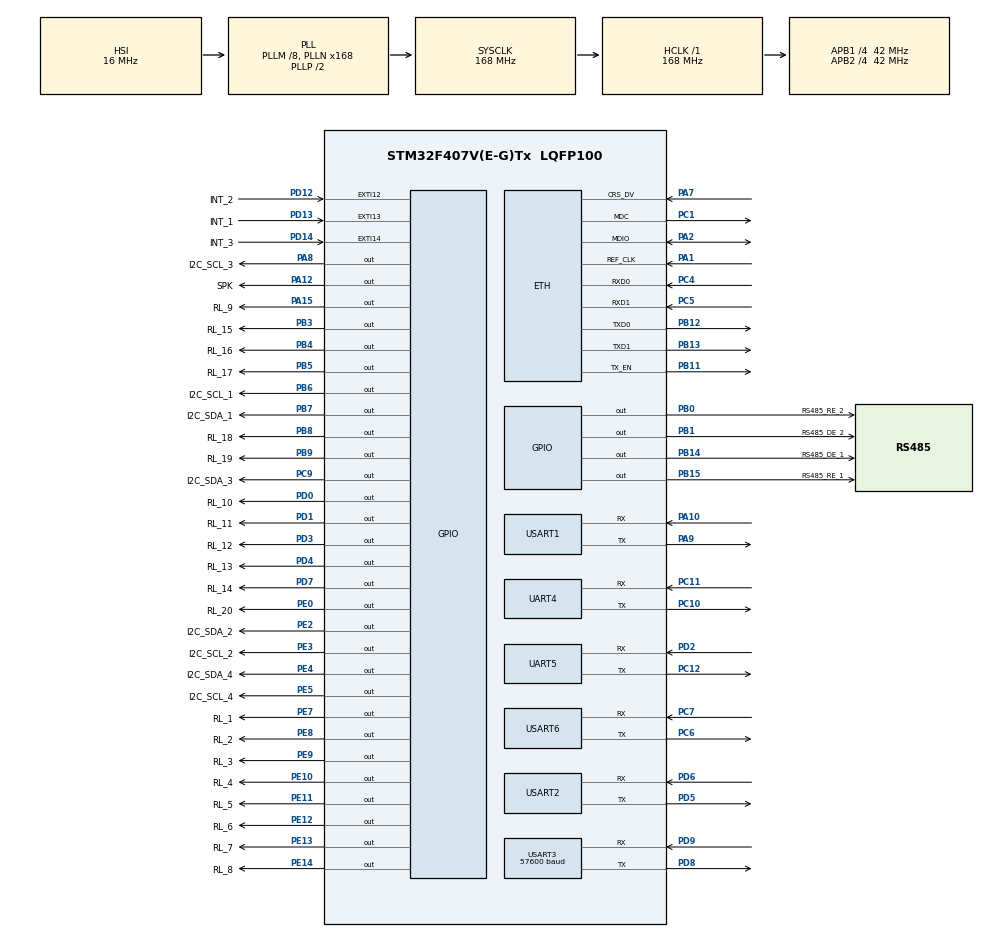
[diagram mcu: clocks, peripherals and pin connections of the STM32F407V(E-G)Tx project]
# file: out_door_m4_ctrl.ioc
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Dma.Request0=UART4_RX
Dma.Request1=USART1_RX
Dma.Request2=USART2_RX
Dma.Request3=UART5_RX
Dma.Request4=USART6_RX
Dma.Request5=USART3_RX
Dma.UART4_RX.0.Direction=DMA_PERIPH_TO_MEMORY
Dma.UART4_RX.0.FIFOMode=DMA_FIFOMODE_DISABLE
Dma.UART4_RX.0.Instance=DMA1_Stream2
Dma.UART4_RX.0.MemDataAlignment=DMA_MDATAALIGN_BYTE
Dma.UART4_RX.0.MemInc=DMA_MINC_ENABLE
Dma.UART4_RX.0.Mode=DMA_NORMAL
Dma.UART4_RX.0.PeriphDataAlignment=DMA_PDATAALIGN_BYTE
Dma.UART4_RX.0.PeriphInc=DMA_PINC_DISABLE
Dma.UART4_RX.0.Priority=DMA_PRIORITY_LOW
Dma.UART5_RX.3.Direction=DMA_PERIPH_TO_MEMORY
Dma.UART5_RX.3.FIFOMode=DMA_FIFOMODE_DISABLE
Dma.UART5_RX.3.Instance=DMA1_Stream0
Dma.UART5_RX.3.MemDataAlignment=DMA_MDATAALIGN_BYTE
Dma.UART5_RX.3.MemInc=DMA_MINC_ENABLE
Dma.UART5_RX.3.Mode=DMA_NORMAL
Dma.UART5_RX.3.PeriphDataAlignment=DMA_PDATAALIGN_BYTE
Dma.UART5_RX.3.PeriphInc=DMA_PINC_DISABLE
Dma.UART5_RX.3.Priority=DMA_PRIORITY_LOW
Dma.USART1_RX.1.Direction=DMA_PERIPH_TO_MEMORY
Dma.USART1_RX.1.FIFOMode=DMA_FIFOMODE_DISABLE
Dma.USART1_RX.1.Instance=DMA2_Stream2
Dma.USART1_RX.1.MemDataAlignment=DMA_MDATAALIGN_BYTE
Dma.USART1_RX.1.MemInc=DMA_MINC_ENABLE
Dma.USART1_RX.1.Mode=DMA_NORMAL
Dma.USART1_RX.1.PeriphDataAlignment=DMA_PDATAALIGN_BYTE
Dma.USART1_RX.1.PeriphInc=DMA_PINC_DISABLE
Dma.USART1_RX.1.Priority=DMA_PRIORITY_LOW
Dma.USART2_RX.2.Direction=DMA_PERIPH_TO_MEMORY
Dma.USART2_RX.2.FIFOMode=DMA_FIFOMODE_DISABLE
Dma.USART2_RX.2.Instance=DMA1_Stream5
Dma.USART2_RX.2.MemDataAlignment=DMA_MDATAALIGN_BYTE
Dma.USART2_RX.2.MemInc=DMA_MINC_ENABLE
Dma.USART2_RX.2.Mode=DMA_NORMAL
Dma.USART2_RX.2.PeriphDataAlignment=DMA_PDATAALIGN_BYTE
Dma.USART2_RX.2.PeriphInc=DMA_PINC_DISABLE
Dma.USART2_RX.2.Priority=DMA_PRIORITY_LOW
Dma.USART3_RX.5.Direction=DMA_PERIPH_TO_MEMORY
Dma.USART3_RX.5.FIFOMode=DMA_FIFOMODE_DISABLE
Dma.USART3_RX.5.Instance=DMA1_Stream1
Dma.USART3_RX.5.MemDataAlignment=DMA_MDATAALIGN_BYTE
Dma.USART3_RX.5.MemInc=DMA_MINC_ENABLE
Dma.USART3_RX.5.Mode=DMA_NORMAL
Dma.USART3_RX.5.PeriphDataAlignment=DMA_PDATAALIGN_BYTE
Dma.USART3_RX.5.PeriphInc=DMA_PINC_DISABLE
Dma.USART3_RX.5.Priority=DMA_PRIORITY_LOW
Dma.USART6_RX.4.Direction=DMA_PERIPH_TO_MEMORY
Dma.USART6_RX.4.FIFOMode=DMA_FIFOMODE_DISABLE
Dma.USART6_RX.4.Instance=DMA2_Stream1
Dma.USART6_RX.4.MemDataAlignment=DMA_MDATAALIGN_BYTE
Dma.USART6_RX.4.MemInc=DMA_MINC_ENABLE
Dma.USART6_RX.4.Mode=DMA_NORMAL
Dma.USART6_RX.4.PeriphDataAlignment=DMA_PDATAALIGN_BYTE
Dma.USART6_RX.4.PeriphInc=DMA_PINC_DISABLE
Dma.USART6_RX.4.Priority=DMA_PRIORITY_LOW
ETH.MACAddr=56\:78\:9A\:87\:65\:43
ETH.MediaInterface=ETH_MEDIA_INTERFACE_RMII
ETH.PhyAddress=0
FREERTOS.INCLUDE_uxTaskGetStackHighWaterMark=1
FREERTOS.INCLUDE_xTaskGetCurrentTaskHandle=1
FREERTOS.Queues01=KeyQueue,4,uint8_t,NULL;SerialQueue,12,uint8_t,NULL;SaveDataQueue,6,uint32_t,NULL;RelayQueue,20,uint32_t,NULL
FREERTOS.Tasks01=Sys,0,128,SysTask,Default;ReadKey,0,128,ReadKeyTask,Default;DealKey,2,128,DealKeyTask,Default;DealSerial,2,500,DealSerialTask,Default;DealSaveData,1,400,DealSaveDataTask,Default;DelayStartUp,0,400,DelayStartUpTask,Default;DealRelay,3,400,DealRelayTask,Default
FREERTOS.configTOTAL_HEAP_SIZE=30720
FREERTOS.configUSE_IDLE_HOOK=1
FREERTOS.configUSE_TICK_HOOK=1
LWIP.GATEWAY_ADDRESS=192.168.001.001
LWIP.IP_ADDRESS=192.168.001.234
LWIP.LWIP_DHCP=0
LWIP.MEMP_DEBUG=LWIP_DBG_ON
LWIP.MEMP_NUM_NETCONN=16
LWIP.MEMP_NUM_TCP_PCB=10
LWIP.MEMP_NUM_UDP_PCB=5
LWIP.MEMP_SANITY_CHECK=1
LWIP.MEM_DEBUG=LWIP_DBG_ON
LWIP.MEM_SIZE=8000
LWIP.NETMASK_ADDRESS=255.255.255.000
LWIP.PBUF_POOL_BUFSIZE=2000
LWIP.SYS_LIGHTWEIGHT_PROT=1
LWIP.TCPIP_DEBUG=LWIP_DBG_ON
LWIP.TCP_MSS=1460
LWIP.TCP_QUEUE_OOSEQ=0
LWIP.Version=v1.5.0_RC0_20160211
Mcu.Family=STM32F4
Mcu.Name=STM32F407V(E-G)Tx
Mcu.Package=LQFP100
NVIC.DMA1_Stream0_IRQn=true\:5\:0\:false\:false\:true\:true
NVIC.DMA1_Stream1_IRQn=true\:5\:0\:false\:false\:true\:true
NVIC.DMA1_Stream2_IRQn=true\:5\:0\:false\:false\:true\:true
NVIC.DMA1_Stream5_IRQn=true\:5\:0\:false\:false\:true\:true
NVIC.DMA2_Stream1_IRQn=true\:5\:0\:false\:false\:true\:true
NVIC.DMA2_Stream2_IRQn=true\:5\:0\:false\:false\:true\:true
NVIC.ETH_IRQn=true\:5\:0\:false\:false\:true\:true
NVIC.EXTI15_10_IRQn=true\:5\:0\:false\:false\:true\:true
NVIC.PriorityGroup=NVIC_PRIORITYGROUP_4
NVIC.TIM1_BRK_TIM9_IRQn=true\:5\:0\:false\:false\:true\:true
NVIC.TIM1_UP_TIM10_IRQn=true\:5\:0\:false\:false\:true\:true
NVIC.TIM2_IRQn=true\:5\:0\:false\:false\:true\:true
NVIC.TIM3_IRQn=true\:5\:0\:false\:false\:true\:true
NVIC.TIM4_IRQn=true\:5\:0\:false\:false\:true\:true
NVIC.TIM5_IRQn=true\:5\:0\:false\:false\:true\:true
NVIC.TIM6_DAC_IRQn=true\:5\:0\:false\:false\:true\:true
NVIC.TIM7_IRQn=true\:5\:0\:false\:false\:true\:true
NVIC.TIM8_TRG_COM_TIM14_IRQn=true\:0\:0\:false\:false\:true\:false
NVIC.TIM8_UP_TIM13_IRQn=true\:5\:0\:false\:false\:true\:true
NVIC.TimeBase=TIM8_TRG_COM_TIM14_IRQn
NVIC.TimeBaseIP=TIM14
NVIC.UART4_IRQn=true\:5\:0\:false\:false\:true\:true
NVIC.UART5_IRQn=true\:5\:0\:false\:false\:true\:true
NVIC.USART1_IRQn=true\:5\:0\:false\:false\:true\:true
NVIC.USART2_IRQn=true\:5\:0\:false\:false\:true\:true
NVIC.USART3_IRQn=true\:5\:0\:false\:false\:true\:true
NVIC.USART6_IRQn=true\:5\:0\:false\:false\:true\:true
PA1.Mode=RMII
PA1.Signal=ETH_REF_CLK
PA10.Mode=Asynchronous
PA10.Signal=USART1_RX
PA12.GPIO_Label=SPK
PA12.Signal=GPIO_Output
PA13.Mode=Serial_Wire
PA13.Signal=SYS_JTMS-SWDIO
PA14.Mode=Serial_Wire
PA14.Signal=SYS_JTCK-SWCLK
PA15.GPIO_Label=RL_9
PA15.Signal=GPIO_Output
PA2.Mode=RMII
PA2.Signal=ETH_MDIO
PA7.Mode=RMII
PA7.Signal=ETH_CRS_DV
PA8.GPIO_Label=I2C_SCL_3
PA8.PinState=GPIO_PIN_SET
PA8.Signal=GPIO_Output
PA9.Mode=Asynchronous
PA9.Signal=USART1_TX
PB0.GPIO_Label=RS485_RE_2
PB0.Signal=GPIO_Output
PB1.GPIO_Label=RS485_DE_2
PB1.Signal=GPIO_Output
PB11.Mode=RMII
PB11.Signal=ETH_TX_EN
PB12.Mode=RMII
PB12.Signal=ETH_TXD0
PB13.Mode=RMII
PB13.Signal=ETH_TXD1
PB14.GPIO_Label=RS485_DE_1
PB14.Signal=GPIO_Output
PB15.GPIO_Label=RS485_RE_1
PB15.Signal=GPIO_Output
PB3.GPIO_Label=RL_15
PB3.Signal=GPIO_Output
PB4.GPIO_Label=RL_16
PB4.Signal=GPIO_Output
PB5.GPIO_Label=RL_17
PB5.Signal=GPIO_Output
PB6.GPIO_Label=I2C_SCL_1
PB6.PinState=GPIO_PIN_SET
PB6.Signal=GPIO_Output
PB7.GPIO_Label=I2C_SDA_1
PB7.GPIO_ModeDefaultOutputPP=GPIO_MODE_OUTPUT_OD
PB7.PinState=GPIO_PIN_SET
PB7.Signal=GPIO_Output
PB8.GPIO_Label=RL_18
PB8.Signal=GPIO_Output
PB9.GPIO_Label=RL_19
PB9.Signal=GPIO_Output
PC1.Mode=RMII
PC1.Signal=ETH_MDC
PC10.Mode=Asynchronous
PC10.Signal=UART4_TX
PC11.Mode=Asynchronous
PC11.Signal=UART4_RX
PC12.Mode=Asynchronous
PC12.Signal=UART5_TX
PC14-OSC32_IN.Mode=LSE-External-Oscillator
PC14-OSC32_IN.Signal=RCC_OSC32_IN
PC15-OSC32_OUT.Mode=LSE-External-Oscillator
PC15-OSC32_OUT.Signal=RCC_OSC32_OUT
PC4.Mode=RMII
PC4.Signal=ETH_RXD0
PC5.Mode=RMII
PC5.Signal=ETH_RXD1
PC6.Mode=Asynchronous
PC6.Signal=USART6_TX
PC7.Mode=Asynchronous
PC7.Signal=USART6_RX
PC9.GPIO_Label=I2C_SDA_3
PC9.GPIO_ModeDefaultOutputPP=GPIO_MODE_OUTPUT_OD
PC9.PinState=GPIO_PIN_SET
PC9.Signal=GPIO_Output
PD0.GPIO_Label=RL_10
PD0.Signal=GPIO_Output
PD1.GPIO_Label=RL_11
PD1.Signal=GPIO_Output
PD12.GPIO_Label=INT_2
PD12.Signal=GPXTI12
PD13.GPIO_Label=INT_1
PD13.Signal=GPXTI13
PD14.GPIO_Label=INT_3
PD14.Signal=GPXTI14
PD2.Mode=Asynchronous
PD2.Signal=UART5_RX
PD3.GPIO_Label=RL_12
PD3.Signal=GPIO_Output
PD4.GPIO_Label=RL_13
PD4.Signal=GPIO_Output
PD5.Mode=Asynchronous
PD5.Signal=USART2_TX
PD6.Mode=Asynchronous
PD6.Signal=USART2_RX
PD7.GPIO_Label=RL_14
PD7.Signal=GPIO_Output
PD8.Mode=Asynchronous
PD8.Signal=USART3_TX
PD9.Mode=Asynchronous
PD9.Signal=USART3_RX
PE0.GPIO_Label=RL_20
PE0.Signal=GPIO_Output
PE10.GPIO_Label=RL_4
PE10.Signal=GPIO_Output
PE11.GPIO_Label=RL_5
PE11.Signal=GPIO_Output
PE12.GPIO_Label=RL_6
PE12.Signal=GPIO_Output
PE13.GPIO_Label=RL_7
PE13.Signal=GPIO_Output
PE14.GPIO_Label=RL_8
PE14.Signal=GPIO_Output
PE2.GPIO_Label=I2C_SDA_2
PE2.GPIO_ModeDefaultOutputPP=GPIO_MODE_OUTPUT_OD
PE2.PinState=GPIO_PIN_SET
PE2.Signal=GPIO_Output
PE3.GPIO_Label=I2C_SCL_2
PE3.PinState=GPIO_PIN_SET
PE3.Signal=GPIO_Output
PE4.GPIO_Label=I2C_SDA_4
PE4.GPIO_ModeDefaultOutputPP=GPIO_MODE_OUTPUT_OD
PE4.PinState=GPIO_PIN_SET
PE4.Signal=GPIO_Output
PE5.GPIO_Label=I2C_SCL_4
PE5.PinState=GPIO_PIN_SET
PE5.Signal=GPIO_Output
PE7.GPIO_Label=RL_1
PE7.Signal=GPIO_Output
PE8.GPIO_Label=RL_2
PE8.Signal=GPIO_Output
PE9.GPIO_Label=RL_3
PE9.Signal=GPIO_Output
PH0-OSC_IN.Mode=HSE-External-Oscillator
PH0-OSC_IN.Signal=RCC_OSC_IN
PH1-OSC_OUT.Mode=HSE-External-Oscillator
PH1-OSC_OUT.Signal=RCC_OSC_OUT
ProjectManager.HeapSize=0xA00
ProjectManager.StackSize=0xA00
ProjectManager.TargetToolchain=MDK-ARM V5
RCC.48MHZClocksFreq_Value=84000000
RCC.AHBFreq_Value=168000000
RCC.APB1CLKDivider=RCC_HCLK_DIV4
RCC.APB1Freq_Value=42000000
RCC.APB1TimFreq_Value=84000000
RCC.APB2CLKDivider=RCC_HCLK_DIV4
RCC.APB2Freq_Value=42000000
RCC.APB2TimFreq_Value=84000000
RCC.CortexFreq_Value=168000000
RCC.HCLKFreq_Value=168000000
RCC.HSE_VALUE=25000000
RCC.HSI_VALUE=16000000
RCC.PLLM=8
RCC.PLLN=168
RCC.RCC_RTC_Clock_Source=RCC_RTCCLKSOURCE_LSE
RCC.RCC_RTC_Clock_SourceVirtual=RCC_RTCCLKSOURCE_LSE
RCC.SYSCLKFreq_VALUE=168000000
RCC.SYSCLKSource=RCC_SYSCLKSOURCE_PLLCLK
RCC.VCOOutputFreq_Value=336000000
RTC.Format=RTC_FORMAT_BIN
TIM1.Period=2999
TIM1.Prescaler=83
TIM2.Period=2999
TIM2.Prescaler=83
TIM3.Period=2999
TIM3.Prescaler=83
TIM4.Period=2999
TIM4.Prescaler=83
TIM5.Period=2999
TIM5.Prescaler=83
TIM6.Period=2999
TIM6.Prescaler=83
TIM7.Period=999
TIM7.Prescaler=83
TIM8.CounterMode=TIM_COUNTERMODE_DOWN
TIM8.Period=999
TIM8.Prescaler=83
TIM9.Period=999
TIM9.Prescaler=83
USART3.BaudRate=57600
VP_FREERTOS_VS_ENABLE.Mode=Enabled
VP_LWIP_VS_Enabled.Mode=Enabled
VP_RTC_VS_RTC_WakeUp_intern.Mode=WakeUp
VP_SYS_VS_tim14.Mode=TIM14
VP_TIM1_VS_ClockSourceINT.Mode=Internal
VP_TIM2_VS_ClockSourceINT.Mode=Internal
VP_TIM3_VS_ClockSourceINT.Mode=Internal
VP_TIM4_VS_ClockSourceINT.Mode=Internal
VP_TIM5_VS_ClockSourceINT.Mode=Internal
VP_TIM6_VS_ClockSourceINT.Mode=Enable_Timer
VP_TIM7_VS_ClockSourceINT.Mode=Enable_Timer
VP_TIM8_VS_ClockSourceINT.Mode=Internal
VP_TIM9_VS_ClockSourceINT.Mode=Internal
board=out_door_m4_ctrl

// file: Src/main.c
/**
  ******************************************************************************
  * File Name          : main.c
  * Description        : Main program body
  ******************************************************************************
  *
  * COPYRIGHT(c) 2017 STMicroelectronics
  *
  * Redistribution and use in source and binary forms, with or without modification,
  * are permitted provided that the following conditions are met:
  *   1. Redistributions of source code must retain the above copyright notice,
  *      this list of conditions and the following disclaimer.
  *   2. Redistributions in binary form must reproduce the above copyright notice,
  *      this list of conditions and the following disclaimer in the documentation
  *      and/or other materials provided with the distribution.
  *   3. Neither the name of STMicroelectronics nor the names of its contributors
  *      may be used to endorse or promote products derived from this software
  *      without specific prior written permission.
  *
  * THIS SOFTWARE IS PROVIDED BY THE COPYRIGHT HOLDERS AND CONTRIBUTORS "AS IS"
  * AND ANY EXPRESS OR IMPLIED WARRANTIES, INCLUDING, BUT NOT LIMITED TO, THE
  * IMPLIED WARRANTIES OF MERCHANTABILITY AND FITNESS FOR A PARTICULAR PURPOSE ARE
  * DISCLAIMED. IN NO EVENT SHALL THE COPYRIGHT HOLDER OR CONTRIBUTORS BE LIABLE
  * FOR ANY DIRECT, INDIRECT, INCIDENTAL, SPECIAL, EXEMPLARY, OR CONSEQUENTIAL
  * DAMAGES (INCLUDING, BUT NOT LIMITED TO, PROCUREMENT OF SUBSTITUTE GOODS OR
  * SERVICES; LOSS OF USE, DATA, OR PROFITS; OR BUSINESS INTERRUPTION) HOWEVER
  * CAUSED AND ON ANY THEORY OF LIABILITY, WHETHER IN CONTRACT, STRICT LIABILITY,
  * OR TORT (INCLUDING NEGLIGENCE OR OTHERWISE) ARISING IN ANY WAY OUT OF THE USE
  * OF THIS SOFTWARE, EVEN IF ADVISED OF THE POSSIBILITY OF SUCH DAMAGE.
  *
  ******************************************************************************
  */
#include "stm32f4xx_hal.h"
#include "cmsis_os.h"
#include "dma.h"
#include "lwip.h"
#include "rtc.h"
#include "tim.h"
#include "usart.h"
#include "gpio.h"

/* USER CODE BEGIN Includes */
#include "include.h"
/* USER CODE END Includes */

/* USER CODE BEGIN PV */
/* Private variables ---------------------------------------------------------*/

/* USER CODE END PV */

void SystemClock_Config(void);
void Error_Handler(void);
void MX_FREERTOS_Init(void);

/* USER CODE BEGIN PFP */
/* Private function prototypes -----------------------------------------------*/

/* USER CODE END PFP */

int main(void)
{

  /* MCU Configuration----------------------------------------------------------*/

  /* Reset of all peripherals, Initializes the Flash interface and the Systick. */
  HAL_Init();

  /* Configure the system clock */
  SystemClock_Config();

  /* Initialize all configured peripherals */
  MX_GPIO_Init();
  MX_DMA_Init();
  MX_UART4_Init();
  MX_UART5_Init();
  MX_USART1_UART_Init();
  MX_USART2_UART_Init();
  MX_USART3_UART_Init();
  MX_USART6_UART_Init();
  MX_TIM1_Init();
  MX_TIM2_Init();
  MX_TIM3_Init();
  MX_TIM4_Init();
  MX_TIM5_Init();
  MX_TIM6_Init();
  MX_TIM7_Init();
  MX_TIM8_Init();
  MX_TIM9_Init();
  MX_RTC_Init();

  /* Call init function for freertos objects (in freertos.c) */
  MX_FREERTOS_Init();

  /* Start scheduler */
  osKernelStart();

  /* We should never get here as control is now taken by the scheduler */

  /* Infinite loop */
  while (1)
  {

  }

}

/** System Clock Configuration
*/
void SystemClock_Config(void)
{

  RCC_OscInitTypeDef RCC_OscInitStruct;
  RCC_ClkInitTypeDef RCC_ClkInitStruct;
  RCC_PeriphCLKInitTypeDef PeriphClkInitStruct;

  __HAL_RCC_PWR_CLK_ENABLE();

  __HAL_PWR_VOLTAGESCALING_CONFIG(PWR_REGULATOR_VOLTAGE_SCALE1);

  RCC_OscInitStruct.OscillatorType = RCC_OSCILLATORTYPE_HSI|RCC_OSCILLATORTYPE_LSE;
  RCC_OscInitStruct.LSEState = RCC_LSE_ON;
  RCC_OscInitStruct.HSIState = RCC_HSI_ON;
  RCC_OscInitStruct.HSICalibrationValue = 16;
  RCC_OscInitStruct.PLL.PLLState = RCC_PLL_ON;
  RCC_OscInitStruct.PLL.PLLSource = RCC_PLLSOURCE_HSI;
  RCC_OscInitStruct.PLL.PLLM = 8;
  RCC_OscInitStruct.PLL.PLLN = 168;
  RCC_OscInitStruct.PLL.PLLP = RCC_PLLP_DIV2;
  RCC_OscInitStruct.PLL.PLLQ = 4;
  if (HAL_RCC_OscConfig(&RCC_OscInitStruct) != HAL_OK)
  {
    Error_Handler();
  }

  RCC_ClkInitStruct.ClockType = RCC_CLOCKTYPE_HCLK|RCC_CLOCKTYPE_SYSCLK
                              |RCC_CLOCKTYPE_PCLK1|RCC_CLOCKTYPE_PCLK2;
  RCC_ClkInitStruct.SYSCLKSource = RCC_SYSCLKSOURCE_PLLCLK;
  RCC_ClkInitStruct.AHBCLKDivider = RCC_SYSCLK_DIV1;
  RCC_ClkInitStruct.APB1CLKDivider = RCC_HCLK_DIV4;
  RCC_ClkInitStruct.APB2CLKDivider = RCC_HCLK_DIV4;
  if (HAL_RCC_ClockConfig(&RCC_ClkInitStruct, FLASH_LATENCY_5) != HAL_OK)
  {
    Error_Handler();
  }

  PeriphClkInitStruct.PeriphClockSelection = RCC_PERIPHCLK_RTC;
  PeriphClkInitStruct.RTCClockSelection = RCC_RTCCLKSOURCE_LSE;
  if (HAL_RCCEx_PeriphCLKConfig(&PeriphClkInitStruct) != HAL_OK)
  {
    Error_Handler();
  }

  HAL_SYSTICK_Config(HAL_RCC_GetHCLKFreq()/1000);

  HAL_SYSTICK_CLKSourceConfig(SYSTICK_CLKSOURCE_HCLK);

  /* SysTick_IRQn interrupt configuration */
  HAL_NVIC_SetPriority(SysTick_IRQn, 15, 0);
}

void HAL_TIM_PeriodElapsedCallback(TIM_HandleTypeDef *htim)
{
/* USER CODE BEGIN Callback 0 */

UartTimerOpeart(htim,&Tcm300Info);
UartTimerOpeart(htim,&Rs232_1_Info);
UartTimerOpeart(htim,&Rs232_2_Info);
UartTimerOpeart(htim,&Rs485_1_Info);
UartTimerOpeart(htim,&Rs485_2_Info);
UartTimerOpeart(htim,&KeyBoardInfo);

if (htim->Instance == COUNTER_TIMER.Instance) {
	INC_COUNTER_TIMER();
}

/* USER CODE END Callback 0 */
  if (htim->Instance == TIM14) {
    HAL_IncTick();
  }
}

void Error_Handler(void)
{
  while(1)
  {
  }
}

/************************ (C) COPYRIGHT STMicroelectronics *****END OF FILE****/

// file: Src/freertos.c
/**
  ******************************************************************************
  * File Name          : freertos.c
  * Description        : Code for freertos applications
  ******************************************************************************
  *
  * COPYRIGHT(c) 2017 STMicroelectronics
  *
  * Redistribution and use in source and binary forms, with or without modification,
  * are permitted provided that the following conditions are met:
  *   1. Redistributions of source code must retain the above copyright notice,
  *      this list of conditions and the following disclaimer.
  *   2. Redistributions in binary form must reproduce the above copyright notice,
  *      this list of conditions and the following disclaimer in the documentation
  *      and/or other materials provided with the distribution.
  *   3. Neither the name of STMicroelectronics nor the names of its contributors
  *      may be used to endorse or promote products derived from this software
  *      without specific prior written permission.
  *
  * THIS SOFTWARE IS PROVIDED BY THE COPYRIGHT HOLDERS AND CONTRIBUTORS "AS IS"
  * AND ANY EXPRESS OR IMPLIED WARRANTIES, INCLUDING, BUT NOT LIMITED TO, THE
  * IMPLIED WARRANTIES OF MERCHANTABILITY AND FITNESS FOR A PARTICULAR PURPOSE ARE
  * DISCLAIMED. IN NO EVENT SHALL THE COPYRIGHT HOLDER OR CONTRIBUTORS BE LIABLE
  * FOR ANY DIRECT, INDIRECT, INCIDENTAL, SPECIAL, EXEMPLARY, OR CONSEQUENTIAL
  * DAMAGES (INCLUDING, BUT NOT LIMITED TO, PROCUREMENT OF SUBSTITUTE GOODS OR
  * SERVICES; LOSS OF USE, DATA, OR PROFITS; OR BUSINESS INTERRUPTION) HOWEVER
  * CAUSED AND ON ANY THEORY OF LIABILITY, WHETHER IN CONTRACT, STRICT LIABILITY,
  * OR TORT (INCLUDING NEGLIGENCE OR OTHERWISE) ARISING IN ANY WAY OUT OF THE USE
  * OF THIS SOFTWARE, EVEN IF ADVISED OF THE POSSIBILITY OF SUCH DAMAGE.
  *
  ******************************************************************************
  */

#include "FreeRTOS.h"
#include "task.h"
#include "cmsis_os.h"

/* USER CODE BEGIN Includes */
#include "include.h"
#include "protocol.h"
/* USER CODE END Includes */

osThreadId SysHandle;
osThreadId ReadKeyHandle;
osThreadId DealKeyHandle;
osThreadId DealSerialHandle;
osThreadId DealSaveDataHandle;
osThreadId DelayStartUpHandle;
osThreadId DealRelayHandle;
osMessageQId KeyQueueHandle;
osMessageQId SerialQueueHandle;
osMessageQId SaveDataQueueHandle;
osMessageQId RelayQueueHandle;

void SysTask(void const * argument);
void ReadKeyTask(void const * argument);
void DealKeyTask(void const * argument);
void DealSerialTask(void const * argument);
void DealSaveDataTask(void const * argument);
void DelayStartUpTask(void const * argument);
void DealRelayTask(void const * argument);

extern void MX_LWIP_Init(void);
void MX_FREERTOS_Init(void); /* (MISRA C 2004 rule 8.1) */

/* Hook prototypes */
void vApplicationIdleHook(void);
void vApplicationTickHook(void);

/* Init FreeRTOS */

void MX_FREERTOS_Init(void) {

  /* Create the thread(s) */
  /* definition and creation of Sys */
  osThreadDef(Sys, SysTask, osPriorityNormal, 0, 128);
  SysHandle = osThreadCreate(osThread(Sys), NULL);

  /* definition and creation of ReadKey */
  osThreadDef(ReadKey, ReadKeyTask, osPriorityNormal, 0, 128);
  ReadKeyHandle = osThreadCreate(osThread(ReadKey), NULL);

  /* definition and creation of DealKey */
  osThreadDef(DealKey, DealKeyTask, osPriorityHigh, 0, 128);
  DealKeyHandle = osThreadCreate(osThread(DealKey), NULL);

  /* definition and creation of DealSerial */
  osThreadDef(DealSerial, DealSerialTask, osPriorityHigh, 0, 500);
  DealSerialHandle = osThreadCreate(osThread(DealSerial), NULL);

  /* definition and creation of DealSaveData */
  osThreadDef(DealSaveData, DealSaveDataTask, osPriorityAboveNormal, 0, 400);
  DealSaveDataHandle = osThreadCreate(osThread(DealSaveData), NULL);

  /* definition and creation of DelayStartUp */
  osThreadDef(DelayStartUp, DelayStartUpTask, osPriorityNormal, 0, 400);
  DelayStartUpHandle = osThreadCreate(osThread(DelayStartUp), NULL);

  /* definition and creation of DealRelay */
  osThreadDef(DealRelay, DealRelayTask, osPriorityRealtime, 0, 400);
  DealRelayHandle = osThreadCreate(osThread(DealRelay), NULL);

  /* Create the queue(s) */
  /* definition and creation of KeyQueue */
  osMessageQDef(KeyQueue, 4, uint8_t);
  KeyQueueHandle = osMessageCreate(osMessageQ(KeyQueue), NULL);

  /* definition and creation of SerialQueue */
  osMessageQDef(SerialQueue, 12, uint8_t);
  SerialQueueHandle = osMessageCreate(osMessageQ(SerialQueue), NULL);

  /* definition and creation of SaveDataQueue */
  osMessageQDef(SaveDataQueue, 6, uint32_t);
  SaveDataQueueHandle = osMessageCreate(osMessageQ(SaveDataQueue), NULL);

  /* definition and creation of RelayQueue */
  osMessageQDef(RelayQueue, 32, uint32_t);
  RelayQueueHandle = osMessageCreate(osMessageQ(RelayQueue), NULL);

}

/* SysTask function */
void SysTask(void const * argument)
{
  /* init code for LWIP */

  osDelay(1000);
  MX_LWIP_Init();

  for(;;)
  {
    osDelay(1);
  }
}

/* ReadKeyTask function */
void ReadKeyTask(void const * argument)
{
  /* USER CODE BEGIN ReadKeyTask */
  save_task_info();
  /* Infinite loop */
  for(;;)
  {
    osDelay(1);
  }
  /* USER CODE END ReadKeyTask */
}

/* DealKeyTask function */
void DealKeyTask(void const * argument)
{
  /* USER CODE BEGIN DealKeyTask */
  save_task_info();
  /* Infinite loop */
  for(;;)
  {
    osDelay(1);
  }
  /* USER CODE END DealKeyTask */
}

/* DealSerialTask function */
void DealSerialTask(void const * argument)
{
  /* USER CODE BEGIN DealSerialTask */
  save_task_info();
  unsigned char serial_value;
  /* Infinite loop */
  for(;;)
  {
	xQueueReceive(SerialQueueHandle, &serial_value, portMAX_DELAY);
	switch(serial_value)
		{
			case RS232_1_MSG:
				break;
			case RS232_2_MSG:
				break;

			case RS485_1_MSG:
				break;

			case RS485_2_MSG:
				break;

			case TCM300_MSG:
				task_deal_tcm300();
				break;

			case KEY_BOARD_MSG:
				Deal_KeyBoard();
				break;

			default:
				break;
		}
  }
  /* USER CODE END DealSerialTask */
}

/* DealSaveDataTask function */
void DealSaveDataTask(void const * argument)
{
  /* USER CODE BEGIN DealSaveDataTask */
  save_task_info();
  /* Infinite loop */
  for(;;)
  {
    osDelay(1);
  }
  /* USER CODE END DealSaveDataTask */
}

/* DelayStartUpTask function */
void DelayStartUpTask(void const * argument)
{
  /* USER CODE BEGIN DelayStartUpTask */
  save_task_info();
  //unsigned char test_buf[50] = {0};
  double tmp[3] = {0.0};
  Init_SysConfig();
  //InitSaveData();

  //init_windows();

  InitIICBus();
  InitSerialBus();
  osDelay(50);
  read_tcm300_id();

  //IIC24C0XWrite(&IIC_24C0X,0,"123456789987654321",18);

  osDelay(2000);
  //IIC24C0XRead(&IIC_24C0X,0,test_buf,50);

  spk_beep(1,10,500);

	Init_Ctrl_Server();
	osDelay(1000);

	//
	P_S_Socket_Task_Info server_socket;
	server_socket = (P_S_Socket_Task_Info)malloc(sizeof(S_Socket_Task_Info));
  	server_socket->port = 4477;
	socket_creat_Concurrency_TCP_server_task("server_task_1",server_socket);
  /* P_S_Socket_Task_Info server_socket;
  server_socket = (P_S_Socket_Task_Info)malloc(sizeof(S_Socket_Task_Info));

  server_socket->port = 5566;
  socket_creat_TCP_server_task("server_task_1",server_socket);

  osDelay(1000);
  P_S_Socket_Task_Info server_socket2;
  server_socket2 = (P_S_Socket_Task_Info)malloc(sizeof(S_Socket_Task_Info));

  server_socket2->port = 1111;
  socket_creat_TCP_server_task("server_task_2",server_socket2);

  osDelay(1000);*/

  //InitHttpServer();//webpage ������
  //osDelay(1000);

  InitUDPCtrlServer();
  osDelay(1000);
  UpLoadMachineStatus();

  //init_flash_map();

  //osDelay(500);
  //test_save_data();
  //test_tcm300();

  /* Infinite loop */
  for(;;)
  {
	//test_serial();
  osDelay(1000);

	tmp[0] = ChangeTem(GetTem(&IIC_SHT20_1));

	tmp[1] = ChangeTem(GetTem(&IIC_SHT20_2));

	tmp[2] = ChangeTem(GetTem(&IIC_SHT20_3));

	MachineInfoCfg.Temp_Hum[0].temperature = (unsigned char)(tmp[0] + 100);

	MachineInfoCfg.Temp_Hum[1].temperature = (unsigned char)(tmp[1] + 100);

	MachineInfoCfg.Temp_Hum[2].temperature = (unsigned char)(tmp[2] + 100);

	MachineInfoCfg.Temp_Hum[0].humidity = (unsigned char)ChangeHum(GetHum(&IIC_SHT20_1));
	MachineInfoCfg.Temp_Hum[1].humidity = (unsigned char)ChangeHum(GetHum(&IIC_SHT20_2));
	MachineInfoCfg.Temp_Hum[2].humidity = (unsigned char)ChangeHum(GetHum(&IIC_SHT20_3));

	//SAVE_UPDATED_DATA();

	}
  /* USER CODE END DelayStartUpTask */
}

/* DealRelayTask function */
void DealRelayTask(void const * argument)
{
  /* USER CODE BEGIN DealRelayTask */
	save_task_info();
	unsigned int recv_relay_value;
  /* Infinite loop */
  for(;;)
  {
	xQueueReceive(RelayQueueHandle, &recv_relay_value, portMAX_DELAY);
	task_deal_relay(recv_relay_value);
   }
  /* USER CODE END DealRelayTask */
}

/************************ (C) COPYRIGHT STMicroelectronics *****END OF FILE****/
